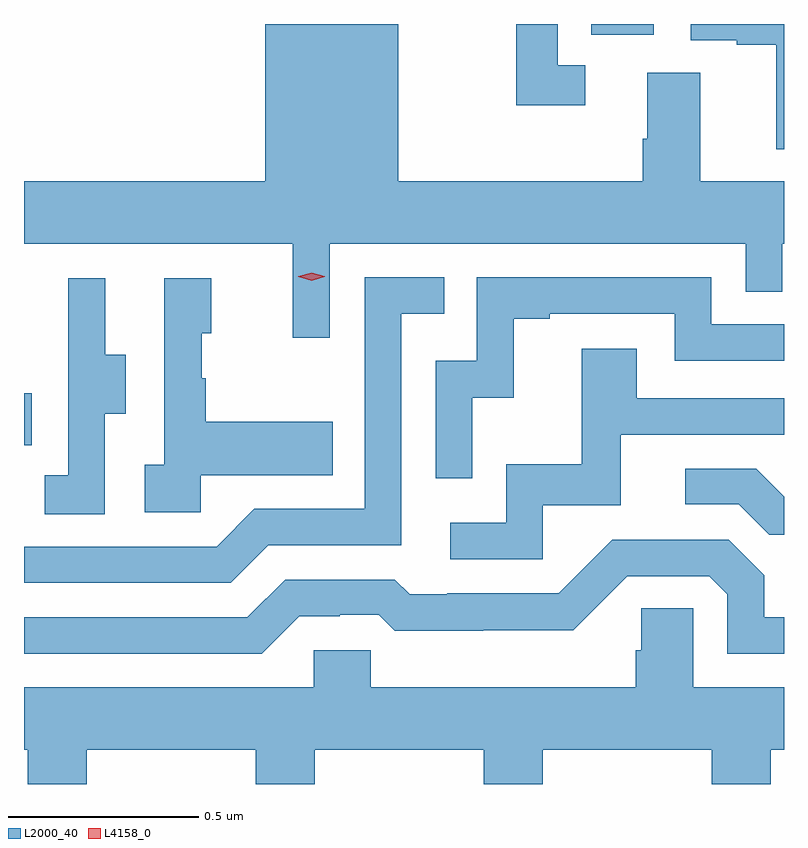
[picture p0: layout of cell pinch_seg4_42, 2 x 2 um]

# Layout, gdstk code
import gdstk
lib = gdstk.Library(unit=1e-6, precision=1e-09)
def R(c, l, rs):  # rectangles x0, y0, x1, y1
    for r in rs: c.add(gdstk.rectangle(r[:2], r[2:], *l))
def P(c, l, *ps):  # polygons
    for p in ps: c.add(gdstk.Polygon(p, *l))
L2000_40 = (2000, 40)
L4158_0 = (4158, 0)

pinch_seg4_42 = lib.new_cell('pinch_seg4_42')
R(pinch_seg4_42, L2000_40, [(1116.429,829.589,1116.449,829.726), (1117.922,830.67,1118.086,830.698)])
P(pinch_seg4_42, L2000_40, [(1117.233,830.12),(1118.328,830.12),(1118.328,829.993),(1118.424,829.993),(1118.424,830.12),(1118.429,830.12),(1118.429,830.284),(1118.209,830.284),(1118.209,830.57),(1118.069,830.57),(1118.069,830.396),(1118.057,830.396),(1118.057,830.284),(1117.414,830.284),(1117.414,830.698),(1117.064,830.698),(1117.064,830.284),(1116.429,830.284),(1116.429,830.12),(1117.136,830.12),(1117.136,829.872),(1117.233,829.872)],
  [(1117.906,830.589),(1117.833,830.589),(1117.833,830.698),(1117.725,830.698),(1117.725,830.484),(1117.906,830.484)],
  [(1118.429,830.698),(1118.184,830.698),(1118.184,830.655),(1118.305,830.655),(1118.305,830.643),(1118.408,830.643),(1118.408,830.369),(1118.429,830.369)],
  [(1117.072,829.326),(1117.422,829.326),(1117.422,829.935),(1117.535,829.935),(1117.535,830.031),(1117.326,830.031),(1117.326,829.422),(1117.035,829.422),(1116.936,829.323),(1116.429,829.323),(1116.429,829.227),(1116.973,829.227)],
  [(1117.608,829.715),(1117.718,829.715),(1117.718,829.923),(1117.813,829.923),(1117.813,829.935),(1118.142,829.935),(1118.142,829.812),(1118.429,829.812),(1118.429,829.908),(1118.238,829.908),(1118.238,830.031),(1117.62,830.031),(1117.62,829.812),(1117.512,829.812),(1117.512,829.503),(1117.608,829.503)],
  [(1116.894,829.511),(1117.241,829.511),(1117.241,829.651),(1116.907,829.651),(1116.907,829.766),(1116.897,829.766),(1116.897,829.884),(1116.922,829.884),(1116.922,830.029),(1116.798,830.029),(1116.798,829.538),(1116.747,829.538),(1116.747,829.413),(1116.894,829.413)],
  [(1116.642,829.672),(1116.697,829.672),(1116.697,829.827),(1116.643,829.827),(1116.643,830.029),(1116.545,830.029),(1116.545,829.815),(1116.546,829.815),(1116.546,829.511),(1116.483,829.511),(1116.483,829.408),(1116.642,829.408)],
  [(1117.794,829.431),(1117.999,829.431),(1117.999,829.617),(1118.429,829.617),(1118.429,829.713),(1118.041,829.713),(1118.041,829.843),(1117.897,829.843),(1117.897,829.54),(1117.698,829.54),(1117.698,829.386),(1117.551,829.386),(1117.551,829.29),(1117.794,829.29)],
  [(1118.429,829.454),(1118.356,829.527),(1118.169,829.527),(1118.169,829.434),(1118.31,829.434),(1118.39,829.354),(1118.429,829.354)],
  [(1117.153,829.14),(1117.26,829.14),(1117.26,829.143),(1117.363,829.143),(1117.405,829.101),(1117.638,829.101),(1117.638,829.103),(1117.874,829.103),(1118.016,829.245),(1118.232,829.245),(1118.28,829.197),(1118.28,829.041),(1118.429,829.041),(1118.429,829.137),(1118.377,829.137),(1118.377,829.247),(1118.283,829.341),(1117.977,829.341),(1117.836,829.2),(1117.543,829.2),(1117.543,829.197),(1117.444,829.197),(1117.405,829.236),(1117.116,829.236),(1117.017,829.137),(1116.429,829.137),(1116.429,829.041),(1117.054,829.041)],
  [(1116.594,828.788),(1117.039,828.788),(1117.039,828.698),(1117.194,828.698),(1117.194,828.788),(1117.639,828.788),(1117.639,828.698),(1117.794,828.698),(1117.794,828.788),(1118.239,828.788),(1118.239,828.698),(1118.394,828.698),(1118.394,828.788),(1118.429,828.788),(1118.429,828.952),(1118.19,828.952),(1118.19,829.16),(1118.053,829.16),(1118.053,829.05),(1118.039,829.05),(1118.039,828.952),(1117.341,828.952),(1117.341,829.05),(1117.191,829.05),(1117.191,828.952),(1116.429,828.952),(1116.429,828.788),(1116.439,828.788),(1116.439,828.698),(1116.594,828.698)])
P(pinch_seg4_42, L4158_0, [(1117.186,830.023),(1117.151,830.033),(1117.151,830.033),(1117.151,830.034),(1117.186,830.043),(1117.221,830.034),(1117.221,830.033),(1117.221,830.033)])

lib.write_gds('pinch_seg4_42.gds')
